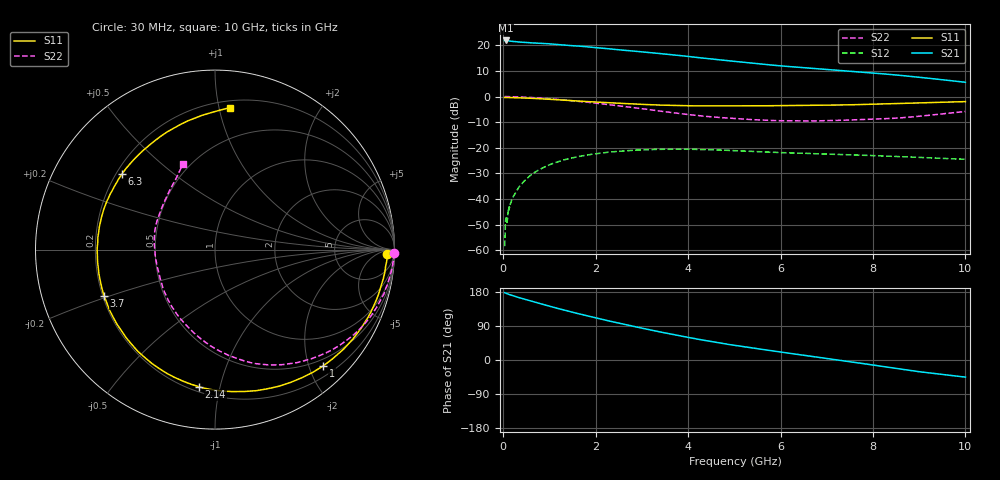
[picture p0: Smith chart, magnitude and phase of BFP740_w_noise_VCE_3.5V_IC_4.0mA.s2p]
! Infineon Technologies  Discrete & RF Semiconductors
! BFP740
! VCE =  3.5 V,  IC =  4.0 mA
! Common Emitter S-Parameters:  Jan 2016
# GHz  S  MA  R  50
!  f  S11  S21  S12  S22
! GHz  MAG  ANG  MAG  ANG  MAG  ANG  MAG  ANG
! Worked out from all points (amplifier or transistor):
!   229 points, 30 MHz to 10 GHz, reference 50 ohm
!   highest |S21| = 21.9 dB at 50 MHz (marker M1)
!   |S21| within 3 dB of that: start of sweep to 2.131 GHz
!   unconditionally stable (mu >= 1): 8.06 GHz to end of sweep
!   at 280 MHz: K = 0.09, MSG = 29.3 dB, |S12| = -37.1 dB
!   at 1.78 GHz: K = 0.21, MSG = 21.2 dB, |S12| = -22.9 dB
!   at 10 GHz: K = 1.19, MAG = 12.4 dB, |S12| = -24.5 dB
!   lowest NFmin = 0.45 dB at 450 MHz
!   S11 on the Smith chart (normalised r, x): 30 MHz: 34, -22; 1 GHz: 0.37, -2.25; 2.14 GHz: 0.23, -0.86; 3.7 GHz: 0.21, -0.19; 6.3 GHz: 0.22, +0.34; 10 GHz: 0.25, +1.08
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0.03  0.9594 -1.5  12.37 177.6  0.0012 64.3  0.9969 -1.1
0.04  0.9598 -2.0  12.25 177.1  0.0019 75.5  0.9973 -1.3
0.05  0.9609 -2.5  12.43 176.9  0.0038 83.5  0.9972 -1.7
0.08  0.9588 -4.0  12.24 175.1  0.0035 79.2  0.996 -2.7
0.13  0.9556 -6.4  12.2 172.7  0.0071 85.2  0.9942 -4.4
0.14  0.9548 -6.9  12.06 172.4  0.0068 78.8  0.9936 -4.8
0.36  0.9419 -17.3  11.54 164.0  0.018 77.5  0.9791 -11.8
0.74  0.911 -35.0  11.02 150.9  0.0357 66.7  0.9417 -23.7
1  0.8854 -47.0  10.68 142.1  0.0465 59.2  0.9066 -31.6
1.4  0.8407 -64.8  9.993 129.1  0.0607 48.3  0.8438 -43.1
1.7  0.8076 -78.2  9.559 119.9  0.0693 40.6  0.7936 -51.3
2.14  0.7692 -96.7  8.786 107.2  0.0792 30.5  0.72 -63.2
2.8  0.7167 -123.4  7.749 89.2  0.089 16.8  0.6105 -79.8
3.4  0.6807 -146.7  6.897 73.9  0.093 5.8  0.5188 -95.9
3.7  0.6694 -157.3  6.456 66.7  0.0939 0.5  0.4806 -103.8
4.3  0.656 -177.4  5.665 53.0  0.0926 -8.6  0.4181 -120.4
5.1  0.658 162.0  4.747 36.9  0.0872 -18.0  0.3681 -139.8
6.3  0.668 140.8  3.775 16.1  0.079 -26.8  0.3339 -167.2
6.8  0.6749 132.6  3.485 7.6  0.0762 -29.7  0.3351 -179.3
8.4  0.7243 105.1  2.682 -20.4  0.0682 -37.6  0.3739 143.5
9  0.7519 95.4  2.384 -30.9  0.0649 -39.7  0.4126 128.3
10  0.7957 84.0  1.898 -45.2  0.0596 -39.8  0.5112 110.4
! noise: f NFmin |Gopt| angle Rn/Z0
0.45  0.45  0.46  11  0.27
0.9  0.45  0.46  18  0.26
1.5  0.49  0.45  27  0.25
1.9  0.53  0.43  43  0.24
2.4  0.55  0.43  48  0.23
3.5  0.67  0.39  70  0.21
5.5  0.9  0.28  159  0.19
10  1.62  0.57  -84  0.25
